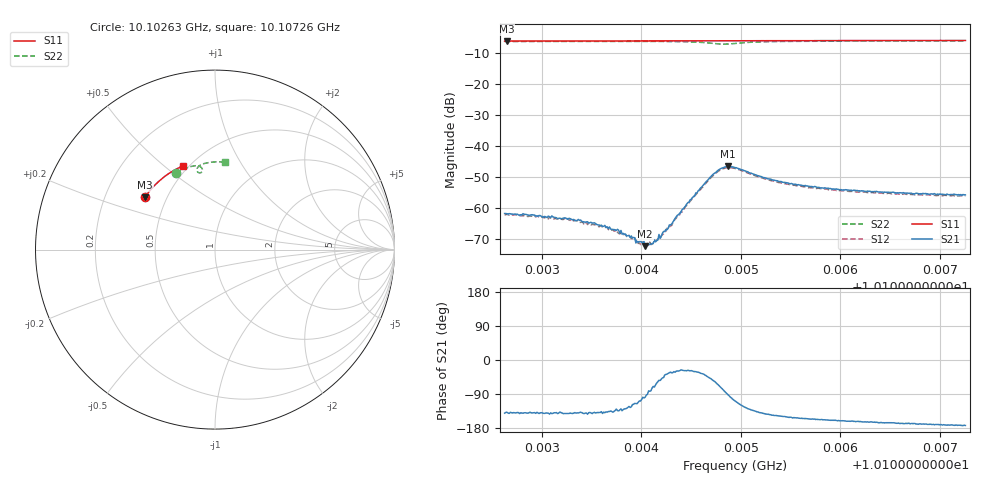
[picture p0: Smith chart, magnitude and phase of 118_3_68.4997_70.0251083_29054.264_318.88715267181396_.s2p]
#  HZ  S  RI  R  50.00
! Rohde & Schwarz Vector Network Analyzer
! Rohde-Schwarz,ZNB20-2Port,1311601062101988,3.16
! Created: UTC 3/20/2024, 4:53:52 PM
! freq[Hz]  re:S11  im:S11  re:S21  im:S21  re:S12  im:S12  re:S22  im:S22
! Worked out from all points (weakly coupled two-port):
!   401 points, 10.10263 GHz to 10.10726 GHz, reference 50 ohm
!   highest |S21| = -46.58 dB at 10.10487 GHz (marker M1); lowest = -72.2 dB at 10.10404 GHz (marker M2)
!   lowest |S11| = -6.2 dB at 10.10265 GHz (marker M3), VSWR 2.90, Z = 18.9 + j14.5 ohm
!   |S11| at or under -10 dB: nowhere
!   |S22| runs from -7.2 to -6.2 dB; largest |S21 - S12| = 0.00051
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1.0102627e10  -0.3907 0.291  -0.000633 -0.000526  -0.000538 -0.000569  -0.2198 0.4263
1.010265e10  -0.3899 0.2921  -0.000606 -0.000546  -0.000577 -0.000569  -0.2185 0.427
1.010324e10  -0.3687 0.3212  -0.000542 -0.000438  -0.000486 -0.000437  -0.1836 0.445
1.0103402e10  -0.3625 0.329  -0.000461 -0.000405  -0.000415 -0.000431  -0.1735 0.4493
1.0103541e10  -0.3571 0.3352  -0.000432 -0.000364  -0.000382 -0.00039  -0.1646 0.4527
1.010375e10  -0.3487 0.3449  -0.00028 -0.000339  -0.000303 -0.000328  -0.1508 0.4579
1.0103935e10  -0.3412 0.3532  -0.000138 -0.000302  -0.000126 -0.000316  -0.1378 0.4618
1.0103969e10  -0.3396 0.3547  -0.000103 -0.000263  -9.64e-05 -0.000253  -0.1353 0.4625
1.0104004e10  -0.3383 0.356  -6.65e-05 -0.000271  -6.47e-05 -0.000284  -0.1327 0.4631
1.0104039e10  -0.3367 0.3576  -3.55e-05 -0.000243  -1.81e-05 -0.000281  -0.1301 0.4637
1.0104097e10  -0.3344 0.3603  4.04e-05 -0.000259  7.87e-05 -0.00025  -0.1257 0.4649
1.0104178e10  -0.3308 0.3636  0.000224 -0.000304  0.000203 -0.000241  -0.1191 0.4659
1.0104294e10  -0.3258 0.3686  0.000455 -0.000288  0.000448 -0.000256  -0.1092 0.4672
1.0104514e10  -0.3159 0.3777  0.00129 -0.000713  0.00134 -0.000574  -0.0871 0.4644
1.0104699e10  -0.3075 0.3852  0.0021 -0.00243  0.00221 -0.00214  -0.0702 0.4462
1.0104791e10  -0.3033 0.3886  0.00142 -0.00403  0.00173 -0.0037  -0.0754 0.4308
1.0104872e10  -0.2997 0.3916  -0.000126 -0.00469  0.000229 -0.00448  -0.0898 0.428
1.0104942e10  -0.2964 0.3945  -0.00141 -0.00427  -0.00099 -0.00425  -0.0988 0.4357
1.0105335e10  -0.2778 0.4093  -0.00235 -0.00156  -0.00209 -0.00172  -0.0786 0.4726
1.0105717e10  -0.2589 0.4226  -0.00203 -0.000918  -0.00186 -0.00105  -0.0494 0.4822
1.0106493e10  -0.2187 0.4469  -0.00174 -0.000454  -0.00164 -0.000581  0.00406 0.4887
1.0107257e10  -0.1769 0.4666  -0.00163 -0.000207  -0.00153 -0.000354  0.0541 0.488
